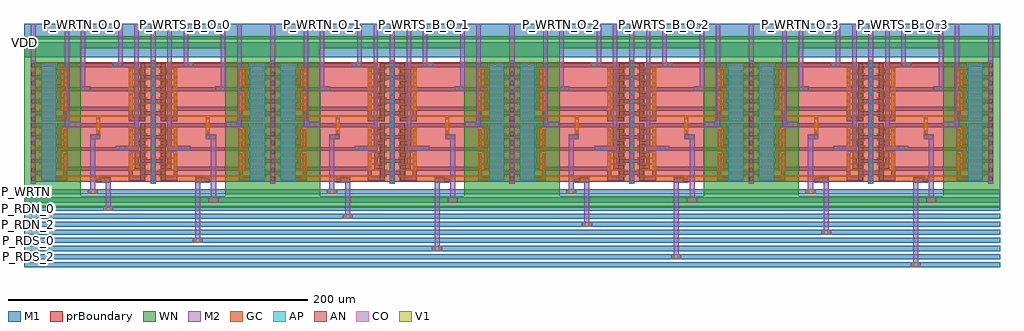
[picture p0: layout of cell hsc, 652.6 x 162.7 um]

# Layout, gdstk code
from math import pi, radians
import gdstk
lib = gdstk.Library(unit=1e-6, precision=1e-07)
def R(c, l, rs):  # rectangles x0, y0, x1, y1
    for r in rs: c.add(gdstk.rectangle(r[:2], r[2:], *l))
def A(c, l, x, y, w, h, nx, ny, dx, dy):  # array of equal rectangles
    R(c, l, [(x+i*dx, y+j*dy, x+i*dx+w, y+j*dy+h) for i in range(nx) for j in range(ny)])
def P(c, l, *ps):  # polygons
    for p in ps: c.add(gdstk.Polygon(p, *l))
AP = (3, 1)
AN = (3, 2)
GC = (8, 1)
CO = (11, 0)
M1 = (13, 0)
V1 = (19, 0)
M2 = (20, 0)
WN = (140, 0)
prBoundary = (235, 0)

fet_n_1 = lib.new_cell('fet_n$1')
R(fet_n_1, AN, [(-19.3,-1.7,19.3,1.7)])
A(fet_n_1, CO, -18.5, -0.5, 1, 1, 10, 1, 4, 0)
A(fet_n_1, M1, -19.3, -1.3, 2.6, 2.6, 10, 1, 4, 0)
fet_n_1.add(gdstk.FlexPath([(0,-2.9),(0,2.9)], 1, ends="flush", simple_path=True, layer=8, datatype=1))  # GC
fet_n_1.add(gdstk.FlexPath([(-4,-2.9),(-4,2.9)], 1, ends="flush", simple_path=True, layer=8, datatype=1))  # GC
fet_n_1.add(gdstk.FlexPath([(4,-2.9),(4,2.9)], 1, ends="flush", simple_path=True, layer=8, datatype=1))  # GC
fet_n_1.add(gdstk.FlexPath([(-8,-2.9),(-8,2.9)], 1, ends="flush", simple_path=True, layer=8, datatype=1))  # GC
fet_n_1.add(gdstk.FlexPath([(8,-2.9),(8,2.9)], 1, ends="flush", simple_path=True, layer=8, datatype=1))  # GC
fet_n_1.add(gdstk.FlexPath([(-12,-2.9),(-12,2.9)], 1, ends="flush", simple_path=True, layer=8, datatype=1))  # GC
fet_n_1.add(gdstk.FlexPath([(12,-2.9),(12,2.9)], 1, ends="flush", simple_path=True, layer=8, datatype=1))  # GC
fet_n_1.add(gdstk.FlexPath([(-16,-2.9),(-16,2.9)], 1, ends="flush", simple_path=True, layer=8, datatype=1))  # GC
fet_n_1.add(gdstk.FlexPath([(16,-2.9),(16,2.9)], 1, ends="flush", simple_path=True, layer=8, datatype=1))  # GC

fet_p_1 = lib.new_cell('fet_p$1')
R(fet_p_1, AP, [(-19.3,-5.1,19.3,5.1)])
A(fet_p_1, CO, -18.5, -3.5, 1, 1, 10, 4, 4, 2)
A(fet_p_1, M1, -19.3, -4.3, 2.6, 8.6, 10, 1, 4, 0)
fet_p_1.add(gdstk.FlexPath([(0,-6.3),(0,6.3)], 1, ends="flush", simple_path=True, layer=8, datatype=1))  # GC
fet_p_1.add(gdstk.FlexPath([(-4,-6.3),(-4,6.3)], 1, ends="flush", simple_path=True, layer=8, datatype=1))  # GC
fet_p_1.add(gdstk.FlexPath([(4,-6.3),(4,6.3)], 1, ends="flush", simple_path=True, layer=8, datatype=1))  # GC
fet_p_1.add(gdstk.FlexPath([(-8,-6.3),(-8,6.3)], 1, ends="flush", simple_path=True, layer=8, datatype=1))  # GC
fet_p_1.add(gdstk.FlexPath([(8,-6.3),(8,6.3)], 1, ends="flush", simple_path=True, layer=8, datatype=1))  # GC
fet_p_1.add(gdstk.FlexPath([(-12,-6.3),(-12,6.3)], 1, ends="flush", simple_path=True, layer=8, datatype=1))  # GC
fet_p_1.add(gdstk.FlexPath([(12,-6.3),(12,6.3)], 1, ends="flush", simple_path=True, layer=8, datatype=1))  # GC
fet_p_1.add(gdstk.FlexPath([(-16,-6.3),(-16,6.3)], 1, ends="flush", simple_path=True, layer=8, datatype=1))  # GC
fet_p_1.add(gdstk.FlexPath([(16,-6.3),(16,6.3)], 1, ends="flush", simple_path=True, layer=8, datatype=1))  # GC

cont_g = lib.new_cell('cont_g')
R(cont_g, GC, [(-1.3,-1.3,1.3,1.3)])
R(cont_g, CO, [(-0.5,-0.5,0.5,0.5)])
R(cont_g, M1, [(-1.3,-1.3,1.3,1.3)])

cont_p = lib.new_cell('cont_p')
R(cont_p, AP, [(-1.3,-1.3,1.3,1.3)])
R(cont_p, CO, [(-0.5,-0.5,0.5,0.5)])
R(cont_p, M1, [(-1.3,-1.3,1.3,1.3)])

cont_n = lib.new_cell('cont_n')
R(cont_n, AN, [(-1.3,-1.3,1.3,1.3)])
R(cont_n, CO, [(-0.5,-0.5,0.5,0.5)])
R(cont_n, M1, [(-1.3,-1.3,1.3,1.3)])

hsc_buf = lib.new_cell('hsc_buf')
R(hsc_buf, GC, [(3.5,9.7,4.5,63.5)])
P(hsc_buf, GC, [(7.5,57.3),(7.5,63.5),(8.5,63.5),(8.5,59.9),(11.5,59.9),(11.5,63.5),(12.5,63.5),(12.5,59.9),(15.5,59.9),(15.5,63.5),(16.5,63.5),(16.5,59.9),(19.5,59.9),(19.5,63.5),(20.5,63.5),(20.5,57.3)],
  [(23.5,57.3),(23.5,63.5),(24.5,63.5),(24.5,59.9),(27.5,59.9),(27.5,63.5),(28.5,63.5),(28.5,59.9),(31.5,59.9),(31.5,63.5),(32.5,63.5),(32.5,59.9),(35.5,59.9),(35.5,63.5),(36.5,63.5),(36.5,57.3)],
  [(7.5,9.7),(7.5,16.3),(20.5,16.3),(20.5,9.7),(19.5,9.7),(19.5,13.7),(16.5,13.7),(16.5,9.7),(15.5,9.7),(15.5,13.7),(12.5,13.7),(12.5,9.7),(11.5,9.7),(11.5,13.7),(8.5,13.7),(8.5,9.7)],
  [(23.5,9.7),(23.5,16.3),(36.5,16.3),(36.5,9.7),(35.5,9.7),(35.5,13.7),(32.5,13.7),(32.5,9.7),(31.5,9.7),(31.5,13.7),(28.5,13.7),(28.5,9.7),(27.5,9.7),(27.5,13.7),(24.5,13.7),(24.5,9.7)])
A(hsc_buf, M1, 4.7, 1.3, 2.6, 4.2, 5, 1, 8, 0)
A(hsc_buf, M1, 4.7, 74.1, 2.6, 4.6, 5, 1, 8, 0)
R(hsc_buf, M1, [(-1.3,-1.3,41.3,1.3), (-1.3,78.7,41.3,81.3)])
P(hsc_buf, M1, [(8.7,8.1),(8.7,12.2),(20.7,12.2),(20.7,61.4),(8.7,61.4),(8.7,65.5),(11.3,65.5),(11.3,64),(16.7,64),(16.7,65.5),(19.3,65.5),(19.3,64),(23.3,64),(23.3,59.9),(35.3,59.9),(35.3,57.3),(23.3,57.3),(23.3,16.3),(35.3,16.3),(35.3,13.7),(23.3,13.7),(23.3,9.6),(19.3,9.6),(19.3,8.1),(16.7,8.1),(16.7,9.6),(11.3,9.6),(11.3,8.1)],
  [(0.7,8.1),(0.7,16.3),(7.5,16.3),(7.5,57.3),(0.7,57.3),(0.7,65.5),(3.3,65.5),(3.3,59.9),(19.3,59.9),(19.3,57.3),(10.1,57.3),(10.1,16.3),(19.3,16.3),(19.3,13.7),(3.3,13.7),(3.3,8.1)],
  [(24.7,8.1),(24.7,12.2),(36.7,12.2),(36.7,61.4),(24.7,61.4),(24.7,65.5),(27.3,65.5),(27.3,64),(32.7,64),(32.7,65.5),(35.3,65.5),(35.3,64),(39.3,64),(39.3,9.6),(35.3,9.6),(35.3,8.1),(32.7,8.1),(32.7,9.6),(27.3,9.6),(27.3,8.1)])
R(hsc_buf, WN, [(-6.3,48.2,46.3,86.3)])
R(hsc_buf, prBoundary, [(0,0,40,80)])
hsc_buf.add(gdstk.Reference(fet_n_1, (20,6.8)))
hsc_buf.add(gdstk.Reference(fet_p_1, (20,69.8)))
hsc_buf.add(gdstk.Reference(cont_g, (3.2,36.6)))
r = gdstk.Reference(cont_g, (10,58.6)); r.repetition = gdstk.Repetition(3, 1, v1=(4,0), v2=(0,0)); hsc_buf.add(r)
r = gdstk.Reference(cont_g, (10,15)); r.repetition = gdstk.Repetition(3, 1, v1=(4,0), v2=(0,0)); hsc_buf.add(r)
r = gdstk.Reference(cont_p, (2,0)); r.repetition = gdstk.Repetition(7, 1, v1=(6,0), v2=(0,0)); hsc_buf.add(r)
r = gdstk.Reference(cont_n, (2,80)); r.repetition = gdstk.Repetition(7, 1, v1=(6,0), v2=(0,0)); hsc_buf.add(r)
r = gdstk.Reference(cont_g, (26,58.6)); r.repetition = gdstk.Repetition(3, 1, v1=(4,0), v2=(0,0)); hsc_buf.add(r)
r = gdstk.Reference(cont_g, (26,15)); r.repetition = gdstk.Repetition(3, 1, v1=(4,0), v2=(0,0)); hsc_buf.add(r)
hsc_buf.add(gdstk.Label('IN', (3.2,36.6), layer=48, texttype=0))
hsc_buf.add(gdstk.Label('OUT', (22,36.6), layer=48, texttype=0))
hsc_buf.add(gdstk.Label('VSS', (0,0), layer=48, texttype=0))
hsc_buf.add(gdstk.Label('VDD', (0,80), layer=48, texttype=0))
hsc_buf.add(gdstk.Label('OUTB', (38,36.6), layer=48, texttype=0))

via_1 = lib.new_cell('via_1')
R(via_1, M1, [(-1.7,-1.7,1.7,1.7)])
R(via_1, V1, [(-0.7,-0.7,0.7,0.7)])
R(via_1, M2, [(-1.7,-1.7,1.7,1.7)])

cont_g_1 = lib.new_cell('cont_g$1')
R(cont_g_1, GC, [(-1.3,-1.3,1.3,1.3)])
R(cont_g_1, CO, [(-0.5,-0.5,0.5,0.5)])
R(cont_g_1, M1, [(-1.3,-1.3,1.3,1.3)])

hsc = lib.new_cell('hsc')
R(hsc, GC, [(-277.9,-71,-275.3,-63.8), (-204.7,-71,-202.1,-63.8), (-117.9,-71,-115.3,-63.8), (-44.7,-71,-42.1,-63.8), (42.1,-71,44.7,-63.8), (115.3,-71,117.9,-63.8), (202.1,-71,204.7,-63.8), (275.3,-71,277.9,-63.8)])
A(hsc, M1, -326.3, -162.7, 652.6, 3.4, 1, 10, 0, 5.4)
A(hsc, M1, -321.7, -107, 3.4, 82.6, 9, 1, 80, 0)
R(hsc, M1, [(-277.9,-73.9,-275.3,-73.6), (-204.7,-73.9,-202.1,-73.6), (-117.9,-73.9,-115.3,-73.6), (-44.7,-73.9,-42.1,-73.6), (42.1,-73.9,44.7,-73.6), (115.3,-73.9,117.9,-73.6), (202.1,-73.9,204.7,-73.6), (275.3,-73.9,277.9,-73.6), (-326.3,-22.4,326.3,-12.2), (-326.3,-10.2,326.3,0)])
P(hsc, M1, [(-277.9,-106.1),(-277.9,-101.2),(-275.3,-101.2),(-275.3,-102.7),(-275,-102.7),(-275,-106.1)],
  [(-205,-106.1),(-205,-102.7),(-204.7,-102.7),(-204.7,-101.2),(-202.1,-101.2),(-202.1,-106.1)],
  [(-117.9,-106.1),(-117.9,-101.2),(-115.3,-101.2),(-115.3,-102.7),(-115,-102.7),(-115,-106.1)],
  [(-45,-106.1),(-45,-102.7),(-44.7,-102.7),(-44.7,-101.2),(-42.1,-101.2),(-42.1,-106.1)],
  [(42.1,-106.1),(42.1,-101.2),(44.7,-101.2),(44.7,-102.7),(45,-102.7),(45,-106.1)],
  [(115,-106.1),(115,-102.7),(115.3,-102.7),(115.3,-101.2),(117.9,-101.2),(117.9,-106.1)],
  [(202.1,-106.1),(202.1,-101.2),(204.7,-101.2),(204.7,-102.7),(205,-102.7),(205,-106.1)],
  [(275,-106.1),(275,-102.7),(275.3,-102.7),(275.3,-101.2),(277.9,-101.2),(277.9,-106.1)])
A(hsc, M2, -201.3, -119.5, 3.4, 42.2, 4, 1, 160, 0)
A(hsc, M2, -282.1, -114.1, 3.4, 36.8, 4, 1, 160, 0)
A(hsc, M2, -321.7, -107, 3.4, 107, 9, 1, 80, 0)
R(hsc, M2, [(268.2,-162.7,271.6,-106.1), (108.2,-157.3,111.6,-106.1), (-51.8,-151.9,-48.4,-106.1), (-211.8,-146.5,-208.4,-106.1), (208.4,-141.1,211.8,-106.1), (48.4,-135.7,51.8,-106.1), (-111.6,-130.3,-108.2,-106.1), (-271.6,-124.9,-268.2,-106.1), (-288.4,-45,-285.4,0), (-194.6,-45,-191.6,0), (-128.4,-45,-125.4,0), (-34.6,-45,-31.6,0), (31.6,-45,34.6,0), (125.4,-45,128.4,0), (191.6,-45,194.6,0), (285.4,-45,288.4,0), (-263.4,-29,-260.4,0), (-219.6,-29,-216.6,0), (-103.4,-29,-100.4,0), (-59.6,-29,-56.6,0), (56.6,-29,59.6,0), (100.4,-29,103.4,0), (216.6,-29,219.6,0), (260.4,-29,263.4,0)])
P(hsc, M2, [(-98.3,-85),(-98.3,-81.6),(-92.6,-81.6),(-92.6,0),(-89.6,0),(-89.6,-85)],
  [(-258.3,-85),(-258.3,-81.6),(-252.6,-81.6),(-252.6,0),(-249.6,0),(-249.6,-85)],
  [(-299.2,-69),(-299.2,0),(-296.2,0),(-296.2,-65.6),(-295.3,-65.6),(-295.3,-69)],
  [(-230.4,-85),(-230.4,0),(-227.4,0),(-227.4,-81.6),(-221.7,-81.6),(-221.7,-85)],
  [(-184.7,-69),(-184.7,-65.6),(-183.8,-65.6),(-183.8,0),(-180.8,0),(-180.8,-69)],
  [(-139.2,-69),(-139.2,0),(-136.2,0),(-136.2,-65.6),(-135.3,-65.6),(-135.3,-69)],
  [(-70.4,-85),(-70.4,0),(-67.4,0),(-67.4,-81.6),(-61.7,-81.6),(-61.7,-85)],
  [(-24.7,-69),(-24.7,-65.6),(-23.8,-65.6),(-23.8,0),(-20.8,0),(-20.8,-69)],
  [(61.7,-85),(61.7,-81.6),(67.4,-81.6),(67.4,0),(70.4,0),(70.4,-85)],
  [(20.8,-69),(20.8,0),(23.8,0),(23.8,-65.6),(24.7,-65.6),(24.7,-69)],
  [(89.6,-85),(89.6,0),(92.6,0),(92.6,-81.6),(98.3,-81.6),(98.3,-85)],
  [(135.3,-69),(135.3,-65.6),(136.2,-65.6),(136.2,0),(139.2,0),(139.2,-69)],
  [(221.7,-85),(221.7,-81.6),(227.4,-81.6),(227.4,0),(230.4,0),(230.4,-85)],
  [(180.8,-69),(180.8,0),(183.8,0),(183.8,-65.6),(184.7,-65.6),(184.7,-69)],
  [(249.6,-85),(249.6,0),(252.6,0),(252.6,-81.6),(258.3,-81.6),(258.3,-85)],
  [(295.3,-69),(295.3,-65.6),(296.2,-65.6),(296.2,0),(299.2,0),(299.2,-69)])
P(hsc, WN, [(-326.3,-19.4),(-326.3,-8.4),(326.3,-8.4),(326.3,-19.4),(288.2,-19.4),(288.2,-16.4),(191.8,-16.4),(191.8,-19.4),(128.2,-19.4),(128.2,-16.4),(31.8,-16.4),(31.8,-19.4),(-31.8,-19.4),(-31.8,-16.4),(-128.2,-16.4),(-128.2,-19.4),(-191.8,-19.4),(-191.8,-16.4),(-288.2,-16.4),(-288.2,-19.4)],
  [(-326.3,-123),(-326.3,-112),(-288.2,-112),(-288.2,-115),(-191.8,-115),(-191.8,-112),(-128.2,-112),(-128.2,-115),(-31.8,-115),(-31.8,-112),(31.8,-112),(31.8,-115),(128.2,-115),(128.2,-112),(191.8,-112),(191.8,-115),(288.2,-115),(288.2,-112),(326.3,-112),(326.3,-123)])
r = gdstk.Reference(hsc_buf, (240,-105.7), rotation=pi/2); r.repetition = gdstk.Repetition(2, 4, v1=(0,40), v2=(-160,0)); hsc.add(r)
r = gdstk.Reference(hsc_buf, (-240,-105.7), rotation=pi/2, x_reflection=True); r.repetition = gdstk.Repetition(2, 4, v1=(0,40), v2=(160,0)); hsc.add(r)
r = gdstk.Reference(via_1, (-271.6,-123.2)); r.repetition = gdstk.Repetition(2, 1, v1=(3.4,0), v2=(0,0)); hsc.add(r)
r = gdstk.Reference(via_1, (-282.1,-112.4)); r.repetition = gdstk.Repetition(2, 1, v1=(3.4,0), v2=(0,0)); hsc.add(r)
r = gdstk.Reference(via_1, (-280.4,-75.6)); r.repetition = gdstk.Repetition(2, 1, v1=(3.4,0), v2=(0,0)); hsc.add(r)
hsc.add(gdstk.Reference(cont_g_1, (-276.6,-72.3)))
r = gdstk.Reference(via_1, (-273.3,-104.4)); r.repetition = gdstk.Repetition(2, 1, v1=(3.4,0), v2=(0,0)); hsc.add(r)
r = gdstk.Reference(via_1, (-263.4,-83.3)); r.repetition = gdstk.Repetition(2, 1, v1=(3.4,0), v2=(0,0)); hsc.add(r)
r = gdstk.Reference(via_1, (-293.6,-67.3)); r.repetition = gdstk.Repetition(2, 1, v1=(3.4,0), v2=(0,0)); hsc.add(r)
r = gdstk.Reference(via_1, (-286.7,-43.3)); r.repetition = gdstk.Repetition(2, 1, v1=(3.4,0), v2=(0,0)); hsc.add(r)
r = gdstk.Reference(via_1, (-265.5,-27.3)); r.repetition = gdstk.Repetition(2, 1, v1=(3.4,0), v2=(0,0)); hsc.add(r)
r = gdstk.Reference(via_1, (-208.4,-144.8), rotation=pi, x_reflection=True); r.repetition = gdstk.Repetition(2, 1, v1=(-3.4,0), v2=(0,0)); hsc.add(r)
r = gdstk.Reference(via_1, (-197.9,-117.8), rotation=pi, x_reflection=True); r.repetition = gdstk.Repetition(2, 1, v1=(-3.4,0), v2=(0,0)); hsc.add(r)
r = gdstk.Reference(via_1, (-199.6,-75.6), rotation=pi, x_reflection=True); r.repetition = gdstk.Repetition(2, 1, v1=(-3.4,0), v2=(0,0)); hsc.add(r)
hsc.add(gdstk.Reference(cont_g_1, (-203.4,-72.3), rotation=pi, x_reflection=True))
r = gdstk.Reference(via_1, (-206.7,-104.4), rotation=pi, x_reflection=True); r.repetition = gdstk.Repetition(2, 1, v1=(-3.4,0), v2=(0,0)); hsc.add(r)
r = gdstk.Reference(via_1, (-216.6,-83.3), rotation=pi, x_reflection=True); r.repetition = gdstk.Repetition(2, 1, v1=(-3.4,0), v2=(0,0)); hsc.add(r)
r = gdstk.Reference(via_1, (-186.4,-67.3), rotation=pi, x_reflection=True); r.repetition = gdstk.Repetition(2, 1, v1=(-3.4,0), v2=(0,0)); hsc.add(r)
r = gdstk.Reference(via_1, (-193.3,-43.3), rotation=pi, x_reflection=True); r.repetition = gdstk.Repetition(2, 1, v1=(-3.4,0), v2=(0,0)); hsc.add(r)
r = gdstk.Reference(via_1, (-214.5,-27.3), rotation=pi, x_reflection=True); r.repetition = gdstk.Repetition(2, 1, v1=(-3.4,0), v2=(0,0)); hsc.add(r)
r = gdstk.Reference(via_1, (-111.6,-128.6)); r.repetition = gdstk.Repetition(2, 1, v1=(3.4,0), v2=(0,0)); hsc.add(r)
r = gdstk.Reference(via_1, (-122.1,-112.4)); r.repetition = gdstk.Repetition(2, 1, v1=(3.4,0), v2=(0,0)); hsc.add(r)
r = gdstk.Reference(via_1, (-120.4,-75.6)); r.repetition = gdstk.Repetition(2, 1, v1=(3.4,0), v2=(0,0)); hsc.add(r)
hsc.add(gdstk.Reference(cont_g_1, (-116.6,-72.3)))
r = gdstk.Reference(via_1, (-113.3,-104.4)); r.repetition = gdstk.Repetition(2, 1, v1=(3.4,0), v2=(0,0)); hsc.add(r)
r = gdstk.Reference(via_1, (-103.4,-83.3)); r.repetition = gdstk.Repetition(2, 1, v1=(3.4,0), v2=(0,0)); hsc.add(r)
r = gdstk.Reference(via_1, (-133.6,-67.3)); r.repetition = gdstk.Repetition(2, 1, v1=(3.4,0), v2=(0,0)); hsc.add(r)
r = gdstk.Reference(via_1, (-126.7,-43.3)); r.repetition = gdstk.Repetition(2, 1, v1=(3.4,0), v2=(0,0)); hsc.add(r)
r = gdstk.Reference(via_1, (-105.5,-27.3)); r.repetition = gdstk.Repetition(2, 1, v1=(3.4,0), v2=(0,0)); hsc.add(r)
r = gdstk.Reference(via_1, (-48.4,-150.2), rotation=pi, x_reflection=True); r.repetition = gdstk.Repetition(2, 1, v1=(-3.4,0), v2=(0,0)); hsc.add(r)
r = gdstk.Reference(via_1, (-37.9,-117.8), rotation=pi, x_reflection=True); r.repetition = gdstk.Repetition(2, 1, v1=(-3.4,0), v2=(0,0)); hsc.add(r)
r = gdstk.Reference(via_1, (-39.6,-75.6), rotation=pi, x_reflection=True); r.repetition = gdstk.Repetition(2, 1, v1=(-3.4,0), v2=(0,0)); hsc.add(r)
hsc.add(gdstk.Reference(cont_g_1, (-43.4,-72.3), rotation=pi, x_reflection=True))
r = gdstk.Reference(via_1, (-46.7,-104.4), rotation=pi, x_reflection=True); r.repetition = gdstk.Repetition(2, 1, v1=(-3.4,0), v2=(0,0)); hsc.add(r)
r = gdstk.Reference(via_1, (-56.6,-83.3), rotation=pi, x_reflection=True); r.repetition = gdstk.Repetition(2, 1, v1=(-3.4,0), v2=(0,0)); hsc.add(r)
r = gdstk.Reference(via_1, (-26.4,-67.3), rotation=pi, x_reflection=True); r.repetition = gdstk.Repetition(2, 1, v1=(-3.4,0), v2=(0,0)); hsc.add(r)
r = gdstk.Reference(via_1, (-33.3,-43.3), rotation=pi, x_reflection=True); r.repetition = gdstk.Repetition(2, 1, v1=(-3.4,0), v2=(0,0)); hsc.add(r)
r = gdstk.Reference(via_1, (-54.5,-27.3), rotation=pi, x_reflection=True); r.repetition = gdstk.Repetition(2, 1, v1=(-3.4,0), v2=(0,0)); hsc.add(r)
r = gdstk.Reference(via_1, (48.4,-134)); r.repetition = gdstk.Repetition(2, 1, v1=(3.4,0), v2=(0,0)); hsc.add(r)
r = gdstk.Reference(via_1, (37.9,-112.4)); r.repetition = gdstk.Repetition(2, 1, v1=(3.4,0), v2=(0,0)); hsc.add(r)
r = gdstk.Reference(via_1, (39.6,-75.6)); r.repetition = gdstk.Repetition(2, 1, v1=(3.4,0), v2=(0,0)); hsc.add(r)
hsc.add(gdstk.Reference(cont_g_1, (43.4,-72.3)))
r = gdstk.Reference(via_1, (46.7,-104.4)); r.repetition = gdstk.Repetition(2, 1, v1=(3.4,0), v2=(0,0)); hsc.add(r)
r = gdstk.Reference(via_1, (56.6,-83.3)); r.repetition = gdstk.Repetition(2, 1, v1=(3.4,0), v2=(0,0)); hsc.add(r)
r = gdstk.Reference(via_1, (26.4,-67.3)); r.repetition = gdstk.Repetition(2, 1, v1=(3.4,0), v2=(0,0)); hsc.add(r)
r = gdstk.Reference(via_1, (33.3,-43.3)); r.repetition = gdstk.Repetition(2, 1, v1=(3.4,0), v2=(0,0)); hsc.add(r)
r = gdstk.Reference(via_1, (54.5,-27.3)); r.repetition = gdstk.Repetition(2, 1, v1=(3.4,0), v2=(0,0)); hsc.add(r)
r = gdstk.Reference(via_1, (111.6,-155.6), rotation=pi, x_reflection=True); r.repetition = gdstk.Repetition(2, 1, v1=(-3.4,0), v2=(0,0)); hsc.add(r)
r = gdstk.Reference(via_1, (122.1,-117.8), rotation=pi, x_reflection=True); r.repetition = gdstk.Repetition(2, 1, v1=(-3.4,0), v2=(0,0)); hsc.add(r)
r = gdstk.Reference(via_1, (120.4,-75.6), rotation=pi, x_reflection=True); r.repetition = gdstk.Repetition(2, 1, v1=(-3.4,0), v2=(0,0)); hsc.add(r)
hsc.add(gdstk.Reference(cont_g_1, (116.6,-72.3), rotation=pi, x_reflection=True))
r = gdstk.Reference(via_1, (113.3,-104.4), rotation=pi, x_reflection=True); r.repetition = gdstk.Repetition(2, 1, v1=(-3.4,0), v2=(0,0)); hsc.add(r)
r = gdstk.Reference(via_1, (103.4,-83.3), rotation=pi, x_reflection=True); r.repetition = gdstk.Repetition(2, 1, v1=(-3.4,0), v2=(0,0)); hsc.add(r)
r = gdstk.Reference(via_1, (133.6,-67.3), rotation=pi, x_reflection=True); r.repetition = gdstk.Repetition(2, 1, v1=(-3.4,0), v2=(0,0)); hsc.add(r)
r = gdstk.Reference(via_1, (126.7,-43.3), rotation=pi, x_reflection=True); r.repetition = gdstk.Repetition(2, 1, v1=(-3.4,0), v2=(0,0)); hsc.add(r)
r = gdstk.Reference(via_1, (105.5,-27.3), rotation=pi, x_reflection=True); r.repetition = gdstk.Repetition(2, 1, v1=(-3.4,0), v2=(0,0)); hsc.add(r)
r = gdstk.Reference(via_1, (208.4,-139.4)); r.repetition = gdstk.Repetition(2, 1, v1=(3.4,0), v2=(0,0)); hsc.add(r)
r = gdstk.Reference(via_1, (197.9,-112.4)); r.repetition = gdstk.Repetition(2, 1, v1=(3.4,0), v2=(0,0)); hsc.add(r)
r = gdstk.Reference(via_1, (199.6,-75.6)); r.repetition = gdstk.Repetition(2, 1, v1=(3.4,0), v2=(0,0)); hsc.add(r)
hsc.add(gdstk.Reference(cont_g_1, (203.4,-72.3)))
r = gdstk.Reference(via_1, (206.7,-104.4)); r.repetition = gdstk.Repetition(2, 1, v1=(3.4,0), v2=(0,0)); hsc.add(r)
r = gdstk.Reference(via_1, (216.6,-83.3)); r.repetition = gdstk.Repetition(2, 1, v1=(3.4,0), v2=(0,0)); hsc.add(r)
r = gdstk.Reference(via_1, (186.4,-67.3)); r.repetition = gdstk.Repetition(2, 1, v1=(3.4,0), v2=(0,0)); hsc.add(r)
r = gdstk.Reference(via_1, (193.3,-43.3)); r.repetition = gdstk.Repetition(2, 1, v1=(3.4,0), v2=(0,0)); hsc.add(r)
r = gdstk.Reference(via_1, (214.5,-27.3)); r.repetition = gdstk.Repetition(2, 1, v1=(3.4,0), v2=(0,0)); hsc.add(r)
r = gdstk.Reference(via_1, (271.6,-161), rotation=pi, x_reflection=True); r.repetition = gdstk.Repetition(2, 1, v1=(-3.4,0), v2=(0,0)); hsc.add(r)
r = gdstk.Reference(via_1, (282.1,-117.8), rotation=pi, x_reflection=True); r.repetition = gdstk.Repetition(2, 1, v1=(-3.4,0), v2=(0,0)); hsc.add(r)
r = gdstk.Reference(via_1, (280.4,-75.6), rotation=pi, x_reflection=True); r.repetition = gdstk.Repetition(2, 1, v1=(-3.4,0), v2=(0,0)); hsc.add(r)
hsc.add(gdstk.Reference(cont_g_1, (276.6,-72.3), rotation=pi, x_reflection=True))
r = gdstk.Reference(via_1, (273.3,-104.4), rotation=pi, x_reflection=True); r.repetition = gdstk.Repetition(2, 1, v1=(-3.4,0), v2=(0,0)); hsc.add(r)
r = gdstk.Reference(via_1, (263.4,-83.3), rotation=pi, x_reflection=True); r.repetition = gdstk.Repetition(2, 1, v1=(-3.4,0), v2=(0,0)); hsc.add(r)
r = gdstk.Reference(via_1, (293.6,-67.3), rotation=pi, x_reflection=True); r.repetition = gdstk.Repetition(2, 1, v1=(-3.4,0), v2=(0,0)); hsc.add(r)
r = gdstk.Reference(via_1, (286.7,-43.3), rotation=pi, x_reflection=True); r.repetition = gdstk.Repetition(2, 1, v1=(-3.4,0), v2=(0,0)); hsc.add(r)
r = gdstk.Reference(via_1, (265.5,-27.3), rotation=pi, x_reflection=True); r.repetition = gdstk.Repetition(2, 1, v1=(-3.4,0), v2=(0,0)); hsc.add(r)
r = gdstk.Reference(via_1, (-320,-100.7)); r.repetition = gdstk.Repetition(9, 6, v1=(80,0), v2=(0,6)); hsc.add(r)
r = gdstk.Reference(via_1, (-320,-60.7)); r.repetition = gdstk.Repetition(9, 6, v1=(80,0), v2=(0,6)); hsc.add(r)
r = gdstk.Reference(via_1, (-320,-20.7)); r.repetition = gdstk.Repetition(5, 3, v1=(160,0), v2=(0,3.4)); hsc.add(r)
r = gdstk.Reference(via_1, (-240,-8.5)); r.repetition = gdstk.Repetition(4, 3, v1=(160,0), v2=(0,3.4)); hsc.add(r)
hsc.add(gdstk.Label('P_WRTN', (-326,-112.4), layer=48, texttype=0))
hsc.add(gdstk.Label('P_WRTS', (-326,-117.8), layer=48, texttype=0))
hsc.add(gdstk.Label('P_RDN_0', (-326,-123.2), layer=48, texttype=0))
hsc.add(gdstk.Label('P_RDS_0', (-326,-144.8), layer=48, texttype=0))
hsc.add(gdstk.Label('P_RDN_1', (-326,-128.6), layer=48, texttype=0))
hsc.add(gdstk.Label('P_RDS_1', (-326,-150.2), layer=48, texttype=0))
hsc.add(gdstk.Label('P_RDN_2', (-326,-134), layer=48, texttype=0))
hsc.add(gdstk.Label('P_RDS_2', (-326,-155.6), layer=48, texttype=0))
hsc.add(gdstk.Label('P_RDN_3', (-326,-139.4), layer=48, texttype=0))
hsc.add(gdstk.Label('P_RDS_3', (-326,-161), layer=48, texttype=0))
hsc.add(gdstk.Label('VDD', (-326,-12.5), layer=48, texttype=0))
hsc.add(gdstk.Label('VSS', (-326,-9.9), layer=48, texttype=0))
hsc.add(gdstk.Label('P_WRTN_O_0', (-287,-0.3), layer=49, texttype=0))
hsc.add(gdstk.Label('P_RDN_B_O_0', (-297.8,-0.3), layer=49, texttype=0))
hsc.add(gdstk.Label('P_RDN_O_0', (-251.3,-0.3), layer=49, texttype=0))
hsc.add(gdstk.Label('P_WRTN_B_O_0', (-262,-0.3), layer=49, texttype=0))
hsc.add(gdstk.Label('P_WRTS_B_O_0', (-218.2,-0.3), layer=49, texttype=0))
hsc.add(gdstk.Label('P_RDS_O_0', (-229,-0.3), layer=49, texttype=0))
hsc.add(gdstk.Label('P_RDS_B_O_0', (-182.5,-0.3), layer=49, texttype=0))
hsc.add(gdstk.Label('P_WRTS_O_0', (-193.2,-0.3), layer=49, texttype=0))
hsc.add(gdstk.Label('P_WRTN_O_1', (-127,-0.3), layer=49, texttype=0))
hsc.add(gdstk.Label('P_RDN_B_O_1', (-137.8,-0.3), layer=49, texttype=0))
hsc.add(gdstk.Label('P_RDN_O_1', (-91.3,-0.3), layer=49, texttype=0))
hsc.add(gdstk.Label('P_WRTN_B_O_1', (-102,-0.3), layer=49, texttype=0))
hsc.add(gdstk.Label('P_WRTS_B_O_1', (-58.2,-0.3), layer=49, texttype=0))
hsc.add(gdstk.Label('P_RDS_O_1', (-69,-0.3), layer=49, texttype=0))
hsc.add(gdstk.Label('P_RDS_B_O_1', (-22.5,-0.3), layer=49, texttype=0))
hsc.add(gdstk.Label('P_WRTS_O_1', (-33.2,-0.3), layer=49, texttype=0))
hsc.add(gdstk.Label('P_WRTN_O_2', (33,-0.3), layer=49, texttype=0))
hsc.add(gdstk.Label('P_RDN_B_O_2', (22.2,-0.3), layer=49, texttype=0))
hsc.add(gdstk.Label('P_RDN_O_2', (68.7,-0.3), layer=49, texttype=0))
hsc.add(gdstk.Label('P_WRTN_B_O_2', (58,-0.3), layer=49, texttype=0))
hsc.add(gdstk.Label('P_WRTS_B_O_2', (101.8,-0.3), layer=49, texttype=0))
hsc.add(gdstk.Label('P_RDS_O_2', (91,-0.3), layer=49, texttype=0))
hsc.add(gdstk.Label('P_RDS_B_O_2', (137.5,-0.3), layer=49, texttype=0))
hsc.add(gdstk.Label('P_WRTS_O_2', (126.8,-0.3), layer=49, texttype=0))
hsc.add(gdstk.Label('P_WRTN_O_3', (193,-0.3), layer=49, texttype=0))
hsc.add(gdstk.Label('P_RDN_B_O_3', (182.2,-0.3), layer=49, texttype=0))
hsc.add(gdstk.Label('P_RDN_O_3', (228.7,-0.3), layer=49, texttype=0))
hsc.add(gdstk.Label('P_WRTN_B_O_3', (218,-0.3), layer=49, texttype=0))
hsc.add(gdstk.Label('P_WRTS_B_O_3', (261.8,-0.3), layer=49, texttype=0))
hsc.add(gdstk.Label('P_RDS_O_3', (251,-0.3), layer=49, texttype=0))
hsc.add(gdstk.Label('P_RDS_B_O_3', (297.5,-0.3), layer=49, texttype=0))
hsc.add(gdstk.Label('P_WRTS_O_3', (286.8,-0.3), layer=49, texttype=0))

lib.write_gds('hsc.gds')
